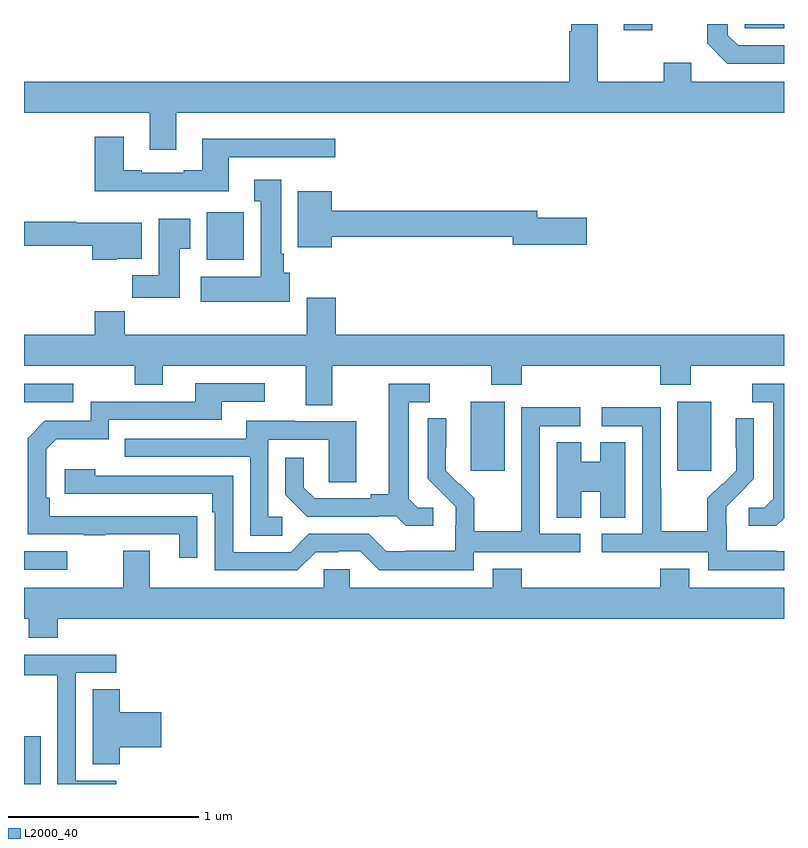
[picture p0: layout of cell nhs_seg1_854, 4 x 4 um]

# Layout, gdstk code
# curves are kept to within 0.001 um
import gdstk
lib = gdstk.Library(unit=1e-6, precision=1e-09)
def R(c, l, rs):  # rectangles x0, y0, x1, y1
    for r in rs: c.add(gdstk.rectangle(r[:2], r[2:], *l))
def P(c, l, *ps):  # polygons
    for p in ps: c.add(gdstk.Polygon(p, *l))
L2000_40 = (2000, 40)

nhs_seg1_854 = lib.new_cell('nhs_seg1_854')
R(nhs_seg1_854, L2000_40, [(157,548.199,157.087,548.451), (157,549.327,157.228,549.423), (159.35,549.849,159.529,550.21), (160.439,549.849,160.618,550.21), (157,550.209,157.258,550.305), (157.961,550.958,158.157,551.209), (160.157,552.165,160.306,552.199), (160.794,552.177,161,552.199)])
P(nhs_seg1_854, L2000_40, [(157.801,551.732),(161,551.732),(161,551.896),(160.513,551.896),(160.513,551.995),(160.366,551.995),(160.366,551.896),(160.021,551.896),(160.021,552.199),(159.881,552.199),(159.881,552.161),(159.869,552.161),(159.869,551.896),(157,551.896),(157,551.732),(157.661,551.732),(157.661,551.538),(157.801,551.538)],
  [(161,552.087),(160.758,552.087),(160.704,552.141),(160.704,552.199),(160.596,552.199),(160.596,552.097),(160.701,551.991),(161,551.991)],
  [(158.077,551.499),(158.638,551.499),(158.638,551.596),(157.937,551.596),(157.937,551.428),(157.841,551.428),(157.841,551.415),(157.621,551.415),(157.621,551.428),(157.525,551.428),(157.525,551.605),(157.373,551.605),(157.373,551.318),(158.077,551.318)],
  [(158.398,550.89),(158.368,550.89),(158.368,550.99),(158.353,550.99),(158.353,551.38),(158.213,551.38),(158.213,551.267),(158.246,551.267),(158.246,550.87),(157.929,550.87),(157.929,550.736),(158.398,550.736)],
  [(158.62,551.08),(159.572,551.08),(159.572,551.038),(159.961,551.038),(159.961,551.18),(159.7,551.18),(159.7,551.216),(158.62,551.216),(158.62,551.32),(158.441,551.32),(158.441,551.024),(158.62,551.024)],
  [(157.819,551.017),(157.876,551.017),(157.876,551.173),(157.709,551.173),(157.709,550.876),(157.57,550.876),(157.57,550.758),(157.819,550.758)],
  [(157.488,550.964),(157.621,550.964),(157.621,551.152),(157.274,551.152),(157.274,551.159),(157,551.159),(157,551.031),(157.358,551.031),(157.358,550.958),(157.488,550.958)],
  [(158.623,550.4),(159.46,550.4),(159.46,550.301),(159.62,550.301),(159.62,550.4),(160.349,550.4),(160.349,550.301),(160.509,550.301),(160.509,550.4),(161,550.4),(161,550.564),(158.642,550.564),(158.642,550.759),(158.489,550.759),(158.489,550.564),(157.529,550.564),(157.529,550.688),(157.373,550.688),(157.373,550.564),(157,550.564),(157,550.4),(157.582,550.4),(157.582,550.301),(157.729,550.301),(157.729,550.4),(158.483,550.4),(158.483,550.192),(158.623,550.192)],
  [(157.913,549.608),(157.136,549.609),(157.136,549.706),(157.116,549.706),(157.116,549.96),(157.169,550.013),(157.446,550.013),(157.446,550.116),(158.041,550.116),(158.041,550.212),(158.266,550.212),(158.266,550.308),(157.901,550.308),(157.901,550.212),(157.35,550.212),(157.35,550.11),(157.11,550.11),(157.02,550.02),(157.02,549.513),(157.315,549.513),(157.315,549.508),(157.427,549.508),(157.427,549.513),(157.817,549.513),(157.817,549.39),(157.913,549.39)],
  [(159.154,549.654),(159.072,549.654),(159.025,549.701),(159.025,550.209),(159.136,550.209),(159.136,550.305),(158.921,550.305),(158.921,549.725),(158.825,549.725),(158.825,549.702),(158.53,549.702),(158.473,549.759),(158.473,549.916),(158.376,549.916),(158.376,549.722),(158.492,549.606),(158.864,549.606),(158.864,549.609),(158.958,549.609),(159.01,549.557),(159.154,549.557)],
  [(161,549.599),(161,550.305),(160.833,550.305),(160.833,550.209),(160.943,550.209),(160.943,549.701),(160.896,549.654),(160.815,549.654),(160.815,549.557),(160.958,549.557)],
  [(161,549.423),(160.961,549.423),(160.961,549.427),(160.698,549.427),(160.698,549.561),(160.696,549.561),(160.696,549.658),(160.842,549.806),(160.842,550.124),(160.746,550.124),(160.746,549.97),(160.748,549.97),(160.748,549.848),(160.677,549.777),(160.674,549.78),(160.597,549.703),(160.597,549.529),(160.353,549.529),(160.353,549.752),(160.35,549.752),(160.35,550.182),(160.041,550.182),(160.041,550.083),(160.254,550.083),(160.254,549.516),(160.041,549.516),(160.041,549.42),(160.602,549.42),(160.602,549.323),(161,549.323)],
  [(159.366,549.42),(159.928,549.42),(159.928,549.516),(159.714,549.516),(159.714,550.083),(159.928,550.083),(159.928,550.182),(159.618,550.182),(159.618,549.752),(159.616,549.752),(159.616,549.529),(159.371,549.529),(159.371,549.703),(159.294,549.78),(159.291,549.777),(159.221,549.848),(159.222,550.124),(159.126,550.124),(159.126,549.806),(159.272,549.658),(159.272,549.561),(159.27,549.561),(159.27,549.427),(159.007,549.427),(159.007,549.423),(158.907,549.423),(158.814,549.516),(158.499,549.516),(158.403,549.42),(158.1,549.42),(158.1,549.822),(157.376,549.822),(157.376,549.856),(157.215,549.856),(157.215,549.726),(157.991,549.726),(157.991,549.629),(158.004,549.629),(158.004,549.324),(158.439,549.324),(158.535,549.42),(158.654,549.42),(158.654,549.423),(158.769,549.423),(158.869,549.323),(159.366,549.323)],
  [(158.359,549.606),(158.286,549.606),(158.286,550.011),(158.604,550.011),(158.604,549.787),(158.749,549.787),(158.749,550.107),(158.425,550.107),(158.425,550.111),(158.171,550.111),(158.171,550.017),(157.531,550.017),(157.531,549.921),(158.19,549.921),(158.19,549.505),(158.359,549.505)],
  [(159.934,549.737),(160.034,549.737),(160.034,549.601),(160.165,549.601),(160.165,549.998),(160.034,549.998),(160.034,549.895),(159.934,549.895),(159.934,549.998),(159.803,549.998),(159.803,549.601),(159.934,549.601)],
  [(157.178,549.068),(161,549.068),(161,549.232),(160.501,549.232),(160.501,549.331),(160.349,549.331),(160.349,549.232),(159.62,549.232),(159.62,549.331),(159.467,549.331),(159.467,549.232),(158.715,549.232),(158.715,549.33),(158.577,549.33),(158.577,549.232),(157.663,549.232),(157.663,549.427),(157.523,549.427),(157.523,549.232),(157,549.232),(157,549.068),(157.025,549.068),(157.025,548.969),(157.178,548.969)],
  [(157.486,548.217),(157.272,548.217),(157.272,548.784),(157.486,548.784),(157.486,548.88),(157,548.88),(157,548.772),(157.174,548.772),(157.174,548.548),(157.176,548.548),(157.176,548.199),(157.486,548.199)],
  [(157.505,548.393),(157.723,548.393),(157.723,548.576),(157.505,548.576),(157.505,548.699),(157.361,548.699),(157.361,548.302),(157.505,548.302)])

lib.write_gds('nhs_seg1_854.gds')
